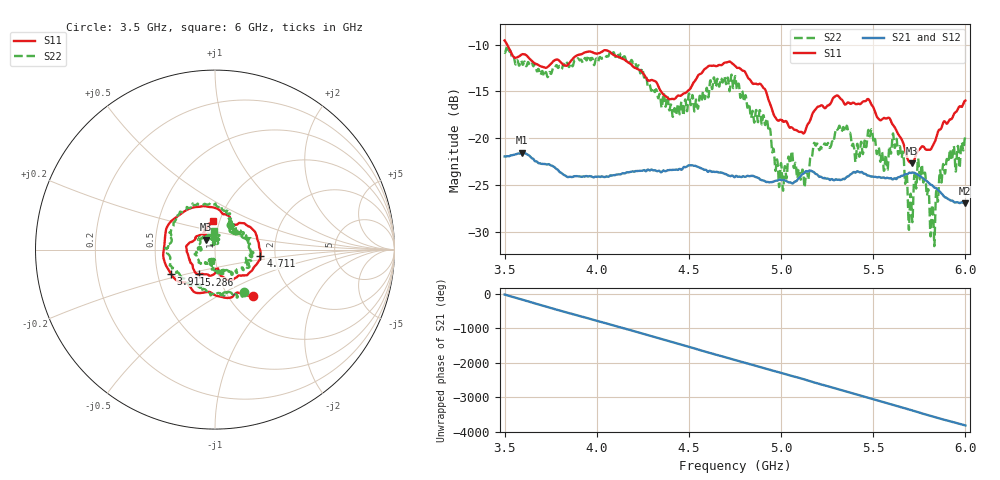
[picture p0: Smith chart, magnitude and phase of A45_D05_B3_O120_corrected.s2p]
! Created with skrf 1.9.0 (http://scikit-rf.org).
# Hz S RI R 50.0
!freq ReS11 ImS11 ReS21 ImS21 ReS12 ImS12 ReS22 ImS22
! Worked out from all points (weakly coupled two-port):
!   1601 points, 3.5 GHz to 6 GHz, reference 50 ohm
!   highest |S21| = -21.55 dB at 3.592 GHz (marker M1); lowest = -27.0 dB at 5.995 GHz (marker M2)
!   lowest |S11| = -22.7 dB at 5.709 GHz (marker M3), VSWR 1.16, Z = 45 + j4.94 ohm
!   |S11| at or under -10 dB: 3.514 GHz to end of sweep
!   |S22| runs from -31.6 to -10.4 dB; largest |S21 - S12| = 0.0011
!   S11 on the Smith chart (normalised r, x): 3.5 GHz: 1.29, -0.75; 3.911 GHz: 0.59, -0.17; 4.711 GHz: 1.67, -0.12; 5.286 GHz: 0.81, -0.23; 6 GHz: 0.93, +0.30
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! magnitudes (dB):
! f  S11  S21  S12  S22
! 3.5 GHz  -9.5  -22.0  -21.9  -10.8
! 3.592 GHz  -11.1  -21.6  -21.5  -11.8
! 3.911 GHz  -11.0  -24.1  -24.0  -11.7
! 3.917 GHz  -11.0  -24.1  -24.1  -11.6
! 4.141 GHz  -11.5  -23.7  -23.7  -11.3
! 4.334 GHz  -14.5  -23.5  -23.4  -15.7
! 4.422 GHz  -15.8  -23.4  -23.3  -16.8
! 4.711 GHz  -11.9  -24.0  -23.9  -13.5
! 4.75 GHz  -12.3  -24.2  -24.0  -13.4
! 4.93 GHz  -15.8  -24.7  -24.6  -18.9
! 5 GHz  -18.0  -24.5  -24.4  -22.7
! 5.136 GHz  -18.9  -23.5  -23.4  -23.6
! 5.167 GHz  -17.5  -23.6  -23.5  -22.0
! 5.286 GHz  -15.6  -24.5  -24.4  -20.3
! 5.584 GHz  -17.8  -24.3  -24.2  -21.4
! 5.653 GHz  -20.1  -24.0  -24.0  -22.1
! 5.709 GHz  -22.7  -23.7  -23.6  -28.0
! 5.753 GHz  -21.1  -24.1  -24.0  -24.4
! 5.822 GHz  -20.9  -25.1  -25.0  -27.1
! 5.87 GHz  -18.9  -25.9  -25.8  -24.7
! 5.995 GHz  -16.0  -27.0  -26.8  -20.2
! 6 GHz  -16.0  -26.9  -26.8  -19.9
